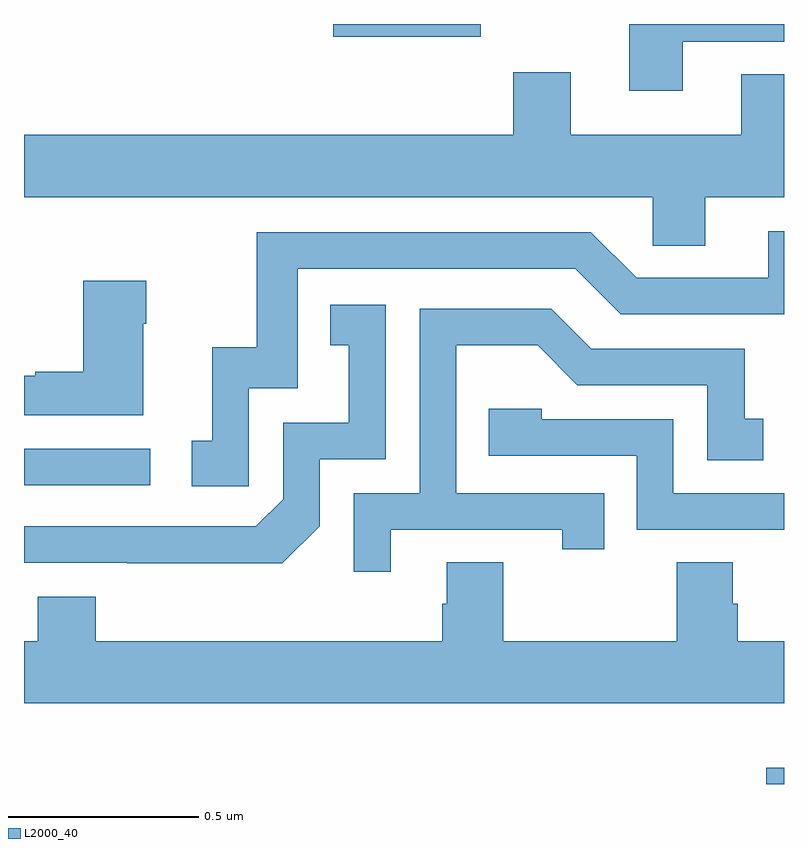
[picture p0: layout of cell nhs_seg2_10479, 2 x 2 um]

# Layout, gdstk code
import gdstk
lib = gdstk.Library(unit=1e-6, precision=1e-09)
def R(c, l, rs):  # rectangles x0, y0, x1, y1
    for r in rs: c.add(gdstk.rectangle(r[:2], r[2:], *l))
def P(c, l, *ps):  # polygons
    for p in ps: c.add(gdstk.Polygon(p, *l))
L2000_40 = (2000, 40)

nhs_seg2_10479 = lib.new_cell('nhs_seg2_10479')
R(nhs_seg2_10479, L2000_40, [(243.953,604.8,244,604.843), (242,605.586,242.332,605.682), (242.814,606.767,243.202,606.8)])
P(nhs_seg2_10479, L2000_40, [(243.733,606.753),(244,606.753),(244,606.8),(243.593,606.8),(243.593,606.624),(243.733,606.624)],
  [(243.793,606.344),(244,606.344),(244,606.668),(243.887,606.668),(243.887,606.508),(243.439,606.508),(243.439,606.673),(243.287,606.673),(243.287,606.508),(242,606.508),(242,606.344),(243.654,606.344),(243.654,606.217),(243.793,606.217)],
  [(242.592,605.841),(242.721,605.841),(242.721,606.156),(243.45,606.156),(243.57,606.036),(244,606.036),(244,606.255),(243.959,606.255),(243.959,606.132),(243.612,606.132),(243.492,606.252),(242.613,606.252),(242.613,605.95),(242.495,605.95),(242.495,605.703),(242.442,605.703),(242.442,605.583),(242.592,605.583)],
  [(242.314,606.011),(242.322,606.011),(242.322,606.124),(242.156,606.124),(242.156,605.885),(242.03,605.885),(242.03,605.875),(242,605.875),(242,605.771),(242.314,605.771)],
  [(242.778,605.478),(242.778,605.655),(242.952,605.655),(242.952,606.061),(242.806,606.061),(242.806,605.955),(242.855,605.955),(242.855,605.751),(242.682,605.751),(242.682,605.55),(242.61,605.478),(242,605.478),(242,605.382),(242.272,605.382),(242.272,605.381),(242.68,605.381)],
  [(242.965,605.469),(243.416,605.469),(243.416,605.418),(243.527,605.418),(243.527,605.565),(243.138,605.565),(243.138,605.954),(243.352,605.954),(243.456,605.85),(243.798,605.85),(243.798,605.652),(243.946,605.652),(243.946,605.761),(243.897,605.761),(243.897,605.946),(243.493,605.946),(243.388,606.051),(243.042,606.051),(243.042,605.565),(242.868,605.565),(242.868,605.358),(242.965,605.358)],
  [(244,605.565),(243.708,605.565),(243.708,605.76),(243.363,605.76),(243.363,605.787),(243.223,605.787),(243.223,605.664),(243.612,605.664),(243.612,605.469),(244,605.469)],
  [(244,605.176),(243.878,605.176),(243.878,605.274),(243.865,605.274),(243.865,605.384),(243.718,605.384),(243.718,605.176),(243.261,605.176),(243.261,605.384),(243.113,605.384),(243.113,605.274),(243.101,605.274),(243.101,605.176),(242.189,605.176),(242.189,605.293),(242.036,605.293),(242.036,605.176),(242,605.176),(242,605.012),(244,605.012)])

lib.write_gds('nhs_seg2_10479.gds')
